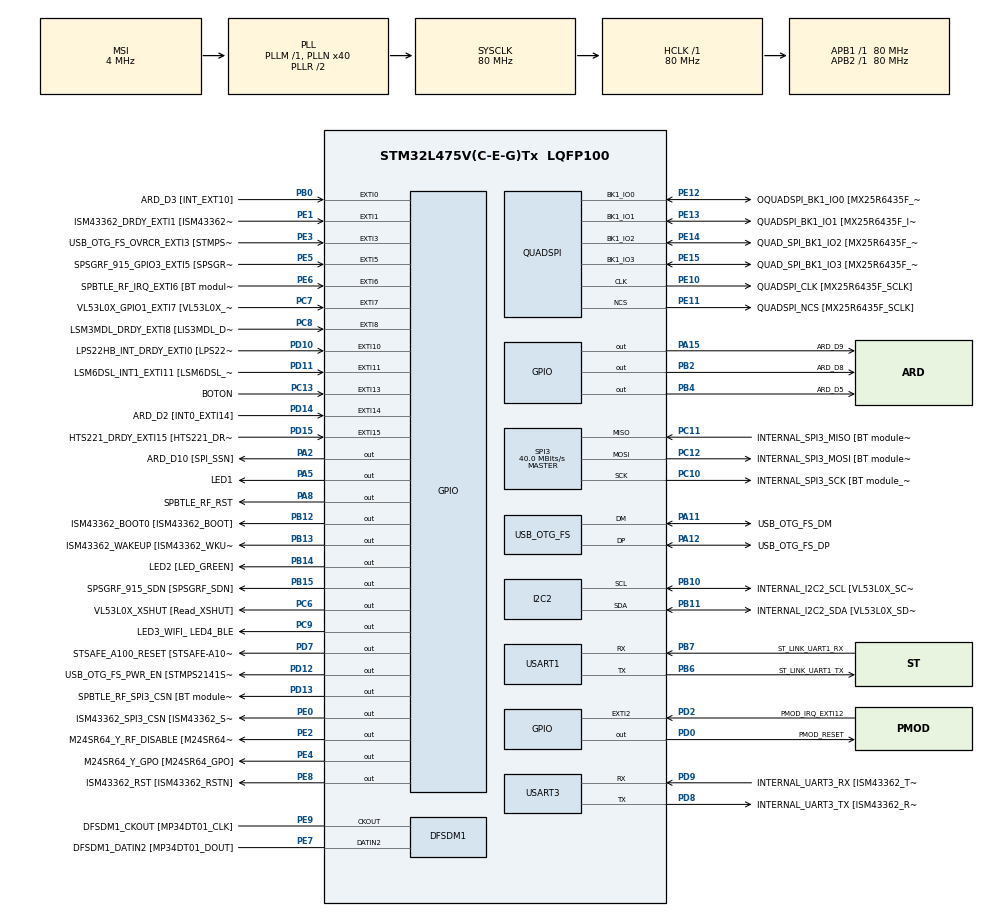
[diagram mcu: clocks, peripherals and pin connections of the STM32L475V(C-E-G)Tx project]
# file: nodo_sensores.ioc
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FREERTOS.Queues01=print_queue,8,uintptr_t,0,Dynamic,NULL,NULL;Send_HyT,3,uintptr_t,0,Dynamic,NULL,NULL;receive_queue,3,char,0,Dynamic,NULL,NULL;Send_Temp,2,int,0,Dynamic,NULL,NULL
FREERTOS.Tasks01=hum_TempTask,24,256,hum_TempTask_func,Default,NULL,Dynamic,NULL,NULL;printTask,24,128,printTask_func,Default,NULL,Dynamic,NULL,NULL;clientMQTT,24,1024,clientMQTT_func,Default,NULL,Dynamic,NULL,NULL;conf_inicial,32,512,conf_inicial_func,Default,NULL,Dynamic,NULL,NULL
FREERTOS.configGENERATE_RUN_TIME_STATS=1
FREERTOS.configTOTAL_HEAP_SIZE=9000
FREERTOS.configUSE_NEWLIB_REENTRANT=1
FREERTOS.configUSE_STATS_FORMATTING_FUNCTIONS=1
Mcu.Family=STM32L4
Mcu.Name=STM32L475V(C-E-G)Tx
Mcu.Package=LQFP100
NVIC.EXTI15_10_IRQn=true\:5\:0\:false\:false\:true\:true\:true\:true\:true
NVIC.EXTI1_IRQn=true\:5\:0\:false\:false\:true\:false\:true\:true\:true
NVIC.EXTI9_5_IRQn=true\:5\:0\:false\:false\:true\:true\:true\:true\:true
NVIC.PriorityGroup=NVIC_PRIORITYGROUP_4
NVIC.SPI3_IRQn=true\:5\:0\:true\:true\:false\:1\:false\:true\:true\:true
NVIC.TIM6_DAC_IRQn=true\:15\:0\:false\:false\:true\:false\:false\:true\:true
NVIC.TIM7_IRQn=true\:5\:0\:false\:false\:true\:true\:true\:true\:true
NVIC.TimeBase=TIM6_DAC_IRQn
NVIC.TimeBaseIP=TIM6
NVIC.USART1_IRQn=true\:5\:0\:false\:false\:true\:true\:true\:true\:true
NVIC.USART3_IRQn=true\:5\:0\:false\:false\:true\:true\:true\:true\:true
PA0.GPIO_Label=ARD_D1 [UART4_TX]
PA0.Signal=UART4_TX
PA1.GPIO_Label=ARD_D0 [UART4_RX]
PA1.Signal=UART4_RX
PA10.GPIO_Label=USB_OTG_FS_ID
PA10.Signal=USB_OTG_FS_ID
PA11.GPIO_Label=USB_OTG_FS_DM
PA11.Mode=Device_Only
PA11.Signal=USB_OTG_FS_DM
PA12.GPIO_Label=USB_OTG_FS_DP
PA12.Mode=Device_Only
PA12.Signal=USB_OTG_FS_DP
PA13\ (JTMS-SWDIO).GPIO_Label=SYS_JTMS_SWDIO
PA13\ (JTMS-SWDIO).Mode=Trace_Asynchronous_SW
PA13\ (JTMS-SWDIO).Signal=SYS_JTMS-SWDIO
PA14\ (JTCK-SWCLK).GPIO_Label=SYS_JTCK_SWCLK
PA14\ (JTCK-SWCLK).Mode=Trace_Asynchronous_SW
PA14\ (JTCK-SWCLK).Signal=SYS_JTCK-SWCLK
PA15\ (JTDI).GPIO_Label=ARD_D9
PA15\ (JTDI).Signal=GPIO_Output
PA2.GPIO_Label=ARD_D10 [SPI_SSN]
PA2.Signal=GPIO_Output
PA3.GPIO_Label=ARD_D4
PA3.Signal=S_TIM2_CH4
PA4.GPIO_Label=ARD_D7
PA4.Signal=ADCx_IN9
PA5.GPIO_Label=LED1
PA5.Signal=GPIO_Output
PA6.GPIO_Label=ARD_D12 [SPI1_MISO]
PA6.Signal=SPI1_MISO
PA7.GPIO_Label=ARD_D11 [SPI1_MOSI]
PA7.Signal=SPI1_MOSI
PA8.GPIO_Label=SPBTLE_RF_RST
PA8.Signal=GPIO_Output
PA9.GPIO_Label=USB_OTG_FS_VBUS [STMPS2141STR_OUT]
PA9.Signal=USB_OTG_FS_VBUS
PB0.GPIO_Label=ARD_D3 [INT_EXT10]
PB0.Signal=GPXTI0
PB1.GPIO_Label=ARD_D6 [ADC1_IN6]
PB1.Signal=ADCx_IN16
PB10.GPIO_Label=INTERNAL_I2C2_SCL [VL53L0X_SCL]
PB10.GPIO_Pu=GPIO_PULLUP
PB10.Mode=I2C
PB10.Signal=I2C2_SCL
PB11.GPIO_Label=INTERNAL_I2C2_SDA [VL53L0X_SDA]
PB11.GPIO_Pu=GPIO_PULLUP
PB11.Mode=I2C
PB11.Signal=I2C2_SDA
PB12.GPIO_Label=ISM43362_BOOT0 [ISM43362_BOOT]
PB12.Signal=GPIO_Output
PB13.GPIO_Label=ISM43362_WAKEUP [ISM43362_WKUP]
PB13.Signal=GPIO_Output
PB14.GPIO_Label=LED2 [LED_GREEN]
PB14.Signal=GPIO_Output
PB15.GPIO_Label=SPSGRF_915_SDN [SPSGRF_SDN]
PB15.Signal=GPIO_Output
PB2.GPIO_Label=ARD_D8
PB2.Signal=GPIO_Output
PB3\ (JTDO-TRACESWO).GPIO_Label=SYS_JTD0_SWO
PB3\ (JTDO-TRACESWO).Mode=Trace_Asynchronous_SW
PB3\ (JTDO-TRACESWO).Signal=SYS_JTDO-SWO
PB4\ (NJTRST).GPIO_Label=ARD_D5
PB4\ (NJTRST).Signal=GPIO_Output
PB6.GPIO_Label=ST_LINK_UART1_TX
PB6.Mode=Asynchronous
PB6.Signal=USART1_TX
PB7.GPIO_Label=ST_LINK_UART1_RX
PB7.Mode=Asynchronous
PB7.Signal=USART1_RX
PB8.GPIO_Label=ARD_D15 [I2C1_SCL]
PB8.Signal=I2C1_SCL
PB9.GPIO_Label=ARD_D14 [I2C1_SDA]
PB9.Signal=I2C1_SDA
PC0.GPIO_Label=ARD_A5 [ADC]
PC0.Signal=ADCx_IN1
PC1.GPIO_Label=ARD_A4 [ADC]
PC1.Signal=ADCx_IN2
PC10.GPIO_Label=INTERNAL_SPI3_SCK [BT module_SPI_SCLK] [ISM43362_SCK]
PC10.Mode=Full_Duplex_Master
PC10.Signal=SPI3_SCK
PC11.GPIO_Label=INTERNAL_SPI3_MISO [BT module_SPI_MISO] [ISM43362_MISO]
PC11.Mode=Full_Duplex_Master
PC11.Signal=SPI3_MISO
PC12.GPIO_Label=INTERNAL_SPI3_MOSI [BT module_SPI_MOSI] [ISM43362_MOSI]
PC12.Mode=Full_Duplex_Master
PC12.Signal=SPI3_MOSI
PC13.GPIO_Label=BOTON
PC13.Signal=GPXTI13
PC14-OSC32_IN\ (PC14).Mode=LSE-External-Oscillator
PC14-OSC32_IN\ (PC14).Signal=RCC_OSC32_IN
PC15-OSC32_OUT\ (PC15).Mode=LSE-External-Oscillator
PC15-OSC32_OUT\ (PC15).Signal=RCC_OSC32_OUT
PC2.GPIO_Label=ARD_A3 [ADC]
PC2.Signal=ADCx_IN3
PC3.GPIO_Label=ARD_A2 [ADC]
PC3.Signal=ADCx_IN4
PC4.GPIO_Label=ARD_A1 [ADC]
PC4.Signal=ADCx_IN13
PC5.GPIO_Label=ARD_A0 [ADC]
PC5.Signal=ADCx_IN14
PC6.GPIO_Label=VL53L0X_XSHUT [Read_XSHUT]
PC6.Signal=GPIO_Output
PC7.GPIO_Label=VL53L0X_GPIO1_EXTI7 [VL53L0X_GPIO1]
PC7.Signal=GPXTI7
PC8.GPIO_Label=LSM3MDL_DRDY_EXTI8 [LIS3MDL_DRDY]
PC8.Signal=GPXTI8
PC9.GPIO_Label=LED3_WIFI_ LED4_BLE
PC9.Signal=GPIO_Output
PD0.GPIO_Label=PMOD_RESET
PD0.Signal=GPIO_Output
PD1.GPIO_Label=PMOD_SPI2_SCK
PD1.Signal=SPI2_SCK
PD10.GPIO_Label=LPS22HB_INT_DRDY_EXTI0 [LPS22HB_INT_DRDY] 
PD10.Signal=GPXTI10
PD11.GPIO_Label=LSM6DSL_INT1_EXTI11 [LSM6DSL_INT1]
PD11.Signal=GPXTI11
PD12.GPIO_Label=USB_OTG_FS_PWR_EN [STMPS2141STR_EN]
PD12.Signal=GPIO_Output
PD13.GPIO_Label=SPBTLE_RF_SPI3_CSN [BT module_SPI_CS]
PD13.PinState=GPIO_PIN_SET
PD13.Signal=GPIO_Output
PD14.GPIO_Label=ARD_D2 [INT0_EXTI14]
PD14.Signal=GPXTI14
PD15.GPIO_Label=HTS221_DRDY_EXTI15 [HTS221_DRDY]
PD15.Signal=GPXTI15
PD2.GPIO_Label=PMOD_IRQ_EXTI12
PD2.Signal=GPXTI2
PD3.GPIO_Label=PMOD_UART2_CTS
PD3.Signal=USART2_CTS
PD4.GPIO_Label=PMOD_UART2_RTS
PD4.Signal=USART2_RTS
PD5.GPIO_Label=PMOD_UART2_TX
PD5.Signal=USART2_TX
PD6.GPIO_Label=PMOD_UART2_RX
PD6.Signal=USART2_RX
PD7.GPIO_Label=STSAFE_A100_RESET [STSAFE-A100_RESET]
PD7.Signal=GPIO_Output
PD8.GPIO_Label=INTERNAL_UART3_TX [ISM43362_RX]
PD8.Mode=Asynchronous
PD8.Signal=USART3_TX
PD9.GPIO_Label=INTERNAL_UART3_RX [ISM43362_TX]
PD9.Mode=Asynchronous
PD9.Signal=USART3_RX
PE0.GPIO_Label=ISM43362_SPI3_CSN [ISM43362_SSN]
PE0.PinState=GPIO_PIN_SET
PE0.Signal=GPIO_Output
PE1.GPIO_Label=ISM43362_DRDY_EXTI1 [ISM43362_DATARDY]
PE1.Signal=GPXTI1
PE10.GPIO_Label=QUADSPI_CLK [MX25R6435F_SCLK]
PE10.Mode=Single Bank
PE10.Signal=QUADSPI_CLK
PE11.GPIO_Label=QUADSPI_NCS [MX25R6435F_SCLK]
PE11.Mode=Single Bank
PE11.Signal=QUADSPI_NCS
PE12.GPIO_Label=OQUADSPI_BK1_IO0 [MX25R6435F_IO0]
PE12.Mode=Single Bank
PE12.Signal=QUADSPI_BK1_IO0
PE13.GPIO_Label=QUADSPI_BK1_IO1 [MX25R6435F_IO1]
PE13.Mode=Single Bank
PE13.Signal=QUADSPI_BK1_IO1
PE14.GPIO_Label=QUAD_SPI_BK1_IO2 [MX25R6435F_IO2]
PE14.Mode=Single Bank
PE14.Signal=QUADSPI_BK1_IO2
PE15.GPIO_Label=QUAD_SPI_BK1_IO3 [MX25R6435F_IO3]
PE15.Mode=Single Bank
PE15.Signal=QUADSPI_BK1_IO3
PE2.GPIO_Label=M24SR64_Y_RF_DISABLE [M24SR64_RFDIS]
PE2.Signal=GPIO_Output
PE3.GPIO_Label=USB_OTG_FS_OVRCR_EXTI3 [STMPS2141STR_FAULT]
PE3.Signal=GPXTI3
PE4.GPIO_Label=M24SR64_Y_GPO [M24SR64_GPO]
PE4.Signal=GPIO_Output
PE5.GPIO_Label=SPSGRF_915_GPIO3_EXTI5 [SPSGRF_GPIO_3]
PE5.Signal=GPXTI5
PE6.GPIO_Label=SPBTLE_RF_IRQ_EXTI6 [BT module_SPI_IRQ]
PE6.Signal=GPXTI6
PE7.GPIO_Label=DFSDM1_DATIN2 [MP34DT01_DOUT]
PE7.Signal=S_DATAIN2DFSDM1
PE8.GPIO_Label=ISM43362_RST [ISM43362_RSTN]
PE8.Signal=GPIO_Output
PE9.GPIO_Label=DFSDM1_CKOUT [MP34DT01_CLK]
PE9.Signal=S_CKOUTDFSDM1
ProjectManager.HeapSize=0x200
ProjectManager.StackSize=0x400
ProjectManager.TargetToolchain=STM32CubeIDE
QUADSPI.ClockPrescaler=2
QUADSPI.FifoThreshold=4
QUADSPI.FlashSize=23
QUADSPI.SampleShifting=QSPI_SAMPLE_SHIFTING_HALFCYCLE
RCC.ADCFreq_Value=48000000
RCC.AHBFreq_Value=80000000
RCC.APB1Freq_Value=80000000
RCC.APB1TimFreq_Value=80000000
RCC.APB2Freq_Value=80000000
RCC.APB2TimFreq_Value=80000000
RCC.CortexFreq_Value=80000000
RCC.HCLKFreq_Value=80000000
RCC.HSE_VALUE=8000000
RCC.HSI_VALUE=16000000
RCC.MSI_VALUE=4000000
RCC.PLLN=40
RCC.PLLSAI1N=24
RCC.SYSCLKFreq_VALUE=80000000
RCC.SYSCLKSource=RCC_SYSCLKSOURCE_PLLCLK
RCC.USBFreq_Value=48000000
RCC.VCOOutputFreq_Value=160000000
RTC.Format=RTC_FORMAT_BIN
RTC.Hours=13
RTC.Minutes=1
SH.ADCx_IN1.0=ADC1_IN1
SH.ADCx_IN13.0=ADC1_IN13
SH.ADCx_IN14.0=ADC1_IN14
SH.ADCx_IN16.0=ADC1_IN16
SH.ADCx_IN2.0=ADC1_IN2
SH.ADCx_IN3.0=ADC1_IN3
SH.ADCx_IN4.0=ADC1_IN4
SH.ADCx_IN9.0=ADC1_IN9
SH.S_CKOUTDFSDM1.0=DFSDM1_CKOUT,CKOUT
SH.S_CKOUTDFSDM1.1=DFSDM1_CKOUT,PDM_SPI_Input_from_ch12_and_Internal_Clock
SH.S_DATAIN2DFSDM1.0=DFSDM1_DATIN2,PDM_SPI_Input_from_ch12_and_Internal_Clock
SH.S_TIM2_CH4.0=TIM2_CH4
SPI3.CalculateBaudRate=40.0 MBits/s
SPI3.Direction=SPI_DIRECTION_2LINES
SPI3.Mode=SPI_MODE_MASTER
SPI3.VirtualType=VM_MASTER
TIM7.Period=799
USART1.VirtualMode-Asynchronous=VM_ASYNC
USART3.VirtualMode-Asynchronous=VM_ASYNC
USB_OTG_FS.VirtualMode=Device_Only
VP_FREERTOS_VS_CMSIS_V2.Mode=CMSIS_V2
VP_RTC_VS_RTC_Activate.Mode=RTC_Enabled
VP_RTC_VS_RTC_Calendar.Mode=RTC_Calendar
VP_SYS_VS_tim6.Mode=TIM6
VP_TIM7_VS_ClockSourceINT.Mode=Enable_Timer
board=B-L475E-IOT01A2

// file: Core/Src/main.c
/* USER CODE BEGIN Header */
/**
  ******************************************************************************
  * @file           : main.c
  * @brief          : Main program body
  ******************************************************************************
  * @attention
  *
  * Copyright (c) 2022 STMicroelectronics.
  * All rights reserved.
  *
  * This software is licensed under terms that can be found in the LICENSE file
  * in the root directory of this software component.
  * If no LICENSE file comes with this software, it is provided AS-IS.
  *
  ******************************************************************************
  */
/* USER CODE END Header */
#include "main.h"
#include "cmsis_os.h"

/* USER CODE BEGIN Includes */
#include "es_wifi.h"
#include "wifi.h"
#include <stdio.h>
#include "stm32l475e_iot01.h"
#include "stm32l475e_iot01_hsensor.h"
#include "stm32l475e_iot01_tsensor.h"
#include <math.h>
#include <string.h>
#include "core_mqtt.h"
#include "mqtt_priv.h"
#include "timers.h"
/* USER CODE END Includes */

/* USER CODE BEGIN PM */

#define MAX_LEN_SSID 10
#define MAX_LEN_PSSWRD 20
//#define WIFISECURITY WIFI_ECN_OPEN
#define WIFISECURITY WIFI_ECN_WPA2_PSK
#define SOCKET 0
#define WIFI_READ_TIMEOUT 10000
#define WIFI_WRITE_TIMEOUT 0
/* USER CODE END PM */

DFSDM_Channel_HandleTypeDef hdfsdm1_channel1;

I2C_HandleTypeDef hi2c2;

QSPI_HandleTypeDef hqspi;

RTC_HandleTypeDef hrtc;

SPI_HandleTypeDef hspi3;

TIM_HandleTypeDef htim7;

UART_HandleTypeDef huart1;
UART_HandleTypeDef huart3;

PCD_HandleTypeDef hpcd_USB_OTG_FS;

/* Definitions for hum_TempTask */
osThreadId_t hum_TempTaskHandle;
const osThreadAttr_t hum_TempTask_attributes = {
  .name = "hum_TempTask",
  .stack_size = 256 * 4,
  .priority = (osPriority_t) osPriorityNormal,
};
/* Definitions for printTask */
osThreadId_t printTaskHandle;
const osThreadAttr_t printTask_attributes = {
  .name = "printTask",
  .stack_size = 128 * 4,
  .priority = (osPriority_t) osPriorityNormal,
};
/* Definitions for clientMQTT */
osThreadId_t clientMQTTHandle;
const osThreadAttr_t clientMQTT_attributes = {
  .name = "clientMQTT",
  .stack_size = 1024 * 4,
  .priority = (osPriority_t) osPriorityNormal,
};
/* Definitions for conf_inicial */
osThreadId_t conf_inicialHandle;
const osThreadAttr_t conf_inicial_attributes = {
  .name = "conf_inicial",
  .stack_size = 512 * 4,
  .priority = (osPriority_t) osPriorityAboveNormal,
};
/* Definitions for print_queue */
osMessageQueueId_t print_queueHandle;
const osMessageQueueAttr_t print_queue_attributes = {
  .name = "print_queue"
};
/* Definitions for Send_HyT */
osMessageQueueId_t Send_HyTHandle;
const osMessageQueueAttr_t Send_HyT_attributes = {
  .name = "Send_HyT"
};
/* Definitions for receive_queue */
osMessageQueueId_t receive_queueHandle;
const osMessageQueueAttr_t receive_queue_attributes = {
  .name = "receive_queue"
};
/* Definitions for Send_Temp */
osMessageQueueId_t Send_TempHandle;
const osMessageQueueAttr_t Send_Temp_attributes = {
  .name = "Send_Temp"
};
/* USER CODE BEGIN PV */
char rec_data;
uint8_t cont=1;
uint8_t TEMPERATURA_UMBRAL=12;
RTC_DateTypeDef GetDate; //Estructura para fijar/leer fecha
RTC_TimeTypeDef GetTime; //Estructura para fijar/leer hora

extern  SPI_HandleTypeDef hspi;
static  uint8_t  IP_Addr[4];

static int humidity_value = 0;
static float temperature_value = 0;
/* USER CODE END PV */

void SystemClock_Config(void);
static void MX_GPIO_Init(void);
static void MX_DFSDM1_Init(void);
static void MX_I2C2_Init(void);
static void MX_QUADSPI_Init(void);
static void MX_SPI3_Init(void);
static void MX_USART1_UART_Init(void);
static void MX_USART3_UART_Init(void);
static void MX_USB_OTG_FS_PCD_Init(void);
static void MX_TIM7_Init(void);
static void MX_RTC_Init(void);
void hum_TempTask_func(void *argument);
void printTask_func(void *argument);
void clientMQTT_func(void *argument);
void conf_inicial_func(void *argument);

static void MX_NVIC_Init(void);
/* USER CODE BEGIN PFP */
volatile unsigned long ulHighFrequencyTimerTicks;
void configureTimerForRunTimeStats(void) {
	ulHighFrequencyTimerTicks = 0;
	HAL_TIM_Base_Start_IT(&htim7);
}
unsigned long getRunTimeCounterValue(void) {
	return ulHighFrequencyTimerTicks;
}
/* USER CODE END PFP */

int main(void)
{

  /* MCU Configuration--------------------------------------------------------*/

  /* Reset of all peripherals, Initializes the Flash interface and the Systick. */
  HAL_Init();

  /* Configure the system clock */
  SystemClock_Config();

  /* Initialize all configured peripherals */
  MX_GPIO_Init();
  MX_DFSDM1_Init();
  MX_I2C2_Init();
  MX_QUADSPI_Init();
  MX_SPI3_Init();
  MX_USART1_UART_Init();
  MX_USART3_UART_Init();
  MX_USB_OTG_FS_PCD_Init();
  MX_TIM7_Init();
  MX_RTC_Init();

  /* Initialize interrupts */
  MX_NVIC_Init();

  /* Init scheduler */
  osKernelInitialize();

  /* Create the queue(s) */
  /* creation of print_queue */
  print_queueHandle = osMessageQueueNew (8, sizeof(uintptr_t), &print_queue_attributes);

  /* creation of Send_HyT */
  Send_HyTHandle = osMessageQueueNew (3, sizeof(uintptr_t), &Send_HyT_attributes);

  /* creation of receive_queue */
  receive_queueHandle = osMessageQueueNew (3, sizeof(char), &receive_queue_attributes);

  /* creation of Send_Temp */
  Send_TempHandle = osMessageQueueNew (2, sizeof(int), &Send_Temp_attributes);

  /* Create the thread(s) */
  /* creation of hum_TempTask */
  hum_TempTaskHandle = osThreadNew(hum_TempTask_func, NULL, &hum_TempTask_attributes);

  /* creation of printTask */
  printTaskHandle = osThreadNew(printTask_func, NULL, &printTask_attributes);

  /* creation of clientMQTT */
  clientMQTTHandle = osThreadNew(clientMQTT_func, NULL, &clientMQTT_attributes);

  /* creation of conf_inicial */
  conf_inicialHandle = osThreadNew(conf_inicial_func, NULL, &conf_inicial_attributes);

  /* USER CODE BEGIN RTOS_THREADS */
  /* add threads, ... */
  HAL_UART_Receive_IT(&huart1,&rec_data,1);
  /* USER CODE END RTOS_THREADS */

  /* Start scheduler */
  osKernelStart();

  /* We should never get here as control is now taken by the scheduler */
  /* Infinite loop */
  while (1)
  {

  }
}

void SystemClock_Config(void)
{
  RCC_OscInitTypeDef RCC_OscInitStruct = {0};
  RCC_ClkInitTypeDef RCC_ClkInitStruct = {0};

  /** Configure the main internal regulator output voltage
  */
  if (HAL_PWREx_ControlVoltageScaling(PWR_REGULATOR_VOLTAGE_SCALE1) != HAL_OK)
  {
    Error_Handler();
  }

  /** Configure LSE Drive Capability
  */
  HAL_PWR_EnableBkUpAccess();
  __HAL_RCC_LSEDRIVE_CONFIG(RCC_LSEDRIVE_LOW);

  /** Initializes the RCC Oscillators according to the specified parameters
  * in the RCC_OscInitTypeDef structure.
  */
  RCC_OscInitStruct.OscillatorType = RCC_OSCILLATORTYPE_LSI|RCC_OSCILLATORTYPE_LSE
                              |RCC_OSCILLATORTYPE_MSI;
  RCC_OscInitStruct.LSEState = RCC_LSE_ON;
  RCC_OscInitStruct.LSIState = RCC_LSI_ON;
  RCC_OscInitStruct.MSIState = RCC_MSI_ON;
  RCC_OscInitStruct.MSICalibrationValue = 0;
  RCC_OscInitStruct.MSIClockRange = RCC_MSIRANGE_6;
  RCC_OscInitStruct.PLL.PLLState = RCC_PLL_ON;
  RCC_OscInitStruct.PLL.PLLSource = RCC_PLLSOURCE_MSI;
  RCC_OscInitStruct.PLL.PLLM = 1;
  RCC_OscInitStruct.PLL.PLLN = 40;
  RCC_OscInitStruct.PLL.PLLP = RCC_PLLP_DIV7;
  RCC_OscInitStruct.PLL.PLLQ = RCC_PLLQ_DIV2;
  RCC_OscInitStruct.PLL.PLLR = RCC_PLLR_DIV2;
  if (HAL_RCC_OscConfig(&RCC_OscInitStruct) != HAL_OK)
  {
    Error_Handler();
  }

  /** Initializes the CPU, AHB and APB buses clocks
  */
  RCC_ClkInitStruct.ClockType = RCC_CLOCKTYPE_HCLK|RCC_CLOCKTYPE_SYSCLK
                              |RCC_CLOCKTYPE_PCLK1|RCC_CLOCKTYPE_PCLK2;
  RCC_ClkInitStruct.SYSCLKSource = RCC_SYSCLKSOURCE_PLLCLK;
  RCC_ClkInitStruct.AHBCLKDivider = RCC_SYSCLK_DIV1;
  RCC_ClkInitStruct.APB1CLKDivider = RCC_HCLK_DIV1;
  RCC_ClkInitStruct.APB2CLKDivider = RCC_HCLK_DIV1;

  if (HAL_RCC_ClockConfig(&RCC_ClkInitStruct, FLASH_LATENCY_4) != HAL_OK)
  {
    Error_Handler();
  }

  /** Enable MSI Auto calibration
  */
  HAL_RCCEx_EnableMSIPLLMode();
}

/**
  * @brief NVIC Configuration.
  * @retval None
  */
static void MX_NVIC_Init(void)
{
  /* SPI3_IRQn interrupt configuration */
  HAL_NVIC_SetPriority(SPI3_IRQn, 5, 0);
  HAL_NVIC_EnableIRQ(SPI3_IRQn);
}

static void MX_DFSDM1_Init(void)
{

  hdfsdm1_channel1.Instance = DFSDM1_Channel1;
  hdfsdm1_channel1.Init.OutputClock.Activation = ENABLE;
  hdfsdm1_channel1.Init.OutputClock.Selection = DFSDM_CHANNEL_OUTPUT_CLOCK_SYSTEM;
  hdfsdm1_channel1.Init.OutputClock.Divider = 2;
  hdfsdm1_channel1.Init.Input.Multiplexer = DFSDM_CHANNEL_EXTERNAL_INPUTS;
  hdfsdm1_channel1.Init.Input.DataPacking = DFSDM_CHANNEL_STANDARD_MODE;
  hdfsdm1_channel1.Init.Input.Pins = DFSDM_CHANNEL_FOLLOWING_CHANNEL_PINS;
  hdfsdm1_channel1.Init.SerialInterface.Type = DFSDM_CHANNEL_SPI_RISING;
  hdfsdm1_channel1.Init.SerialInterface.SpiClock = DFSDM_CHANNEL_SPI_CLOCK_INTERNAL;
  hdfsdm1_channel1.Init.Awd.FilterOrder = DFSDM_CHANNEL_FASTSINC_ORDER;
  hdfsdm1_channel1.Init.Awd.Oversampling = 1;
  hdfsdm1_channel1.Init.Offset = 0;
  hdfsdm1_channel1.Init.RightBitShift = 0x00;
  if (HAL_DFSDM_ChannelInit(&hdfsdm1_channel1) != HAL_OK)
  {
    Error_Handler();
  }

}

static void MX_I2C2_Init(void)
{

  hi2c2.Instance = I2C2;
  hi2c2.Init.Timing = 0x00000E14;
  hi2c2.Init.OwnAddress1 = 0;
  hi2c2.Init.AddressingMode = I2C_ADDRESSINGMODE_7BIT;
  hi2c2.Init.DualAddressMode = I2C_DUALADDRESS_DISABLE;
  hi2c2.Init.OwnAddress2 = 0;
  hi2c2.Init.OwnAddress2Masks = I2C_OA2_NOMASK;
  hi2c2.Init.GeneralCallMode = I2C_GENERALCALL_DISABLE;
  hi2c2.Init.NoStretchMode = I2C_NOSTRETCH_DISABLE;
  if (HAL_I2C_Init(&hi2c2) != HAL_OK)
  {
    Error_Handler();
  }

  /** Configure Analogue filter
  */
  if (HAL_I2CEx_ConfigAnalogFilter(&hi2c2, I2C_ANALOGFILTER_ENABLE) != HAL_OK)
  {
    Error_Handler();
  }

  /** Configure Digital filter
  */
  if (HAL_I2CEx_ConfigDigitalFilter(&hi2c2, 0) != HAL_OK)
  {
    Error_Handler();
  }

}

static void MX_QUADSPI_Init(void)
{

  /* QUADSPI parameter configuration*/
  hqspi.Instance = QUADSPI;
  hqspi.Init.ClockPrescaler = 2;
  hqspi.Init.FifoThreshold = 4;
  hqspi.Init.SampleShifting = QSPI_SAMPLE_SHIFTING_HALFCYCLE;
  hqspi.Init.FlashSize = 23;
  hqspi.Init.ChipSelectHighTime = QSPI_CS_HIGH_TIME_1_CYCLE;
  hqspi.Init.ClockMode = QSPI_CLOCK_MODE_0;
  if (HAL_QSPI_Init(&hqspi) != HAL_OK)
  {
    Error_Handler();
  }

}

static void MX_RTC_Init(void)
{

  RTC_TimeTypeDef sTime = {0};
  RTC_DateTypeDef sDate = {0};

  /** Initialize RTC Only
  */
  hrtc.Instance = RTC;
  hrtc.Init.HourFormat = RTC_HOURFORMAT_24;
  hrtc.Init.AsynchPrediv = 127;
  hrtc.Init.SynchPrediv = 255;
  hrtc.Init.OutPut = RTC_OUTPUT_DISABLE;
  hrtc.Init.OutPutRemap = RTC_OUTPUT_REMAP_NONE;
  hrtc.Init.OutPutPolarity = RTC_OUTPUT_POLARITY_HIGH;
  hrtc.Init.OutPutType = RTC_OUTPUT_TYPE_OPENDRAIN;
  if (HAL_RTC_Init(&hrtc) != HAL_OK)
  {
    Error_Handler();
  }

  /** Initialize RTC and set the Time and Date
  */
  sTime.Hours = 13;
  sTime.Minutes = 1;
  sTime.Seconds = 0;
  sTime.DayLightSaving = RTC_DAYLIGHTSAVING_NONE;
  sTime.StoreOperation = RTC_STOREOPERATION_RESET;
  if (HAL_RTC_SetTime(&hrtc, &sTime, RTC_FORMAT_BIN) != HAL_OK)
  {
    Error_Handler();
  }
  sDate.WeekDay = RTC_WEEKDAY_MONDAY;
  sDate.Month = RTC_MONTH_JANUARY;
  sDate.Date = 1;
  sDate.Year = 0;

  if (HAL_RTC_SetDate(&hrtc, &sDate, RTC_FORMAT_BIN) != HAL_OK)
  {
    Error_Handler();
  }

}

static void MX_SPI3_Init(void)
{

  /* SPI3 parameter configuration*/
  hspi3.Instance = SPI3;
  hspi3.Init.Mode = SPI_MODE_MASTER;
  hspi3.Init.Direction = SPI_DIRECTION_2LINES;
  hspi3.Init.DataSize = SPI_DATASIZE_4BIT;
  hspi3.Init.CLKPolarity = SPI_POLARITY_LOW;
  hspi3.Init.CLKPhase = SPI_PHASE_1EDGE;
  hspi3.Init.NSS = SPI_NSS_SOFT;
  hspi3.Init.BaudRatePrescaler = SPI_BAUDRATEPRESCALER_2;
  hspi3.Init.FirstBit = SPI_FIRSTBIT_MSB;
  hspi3.Init.TIMode = SPI_TIMODE_DISABLE;
  hspi3.Init.CRCCalculation = SPI_CRCCALCULATION_DISABLE;
  hspi3.Init.CRCPolynomial = 7;
  hspi3.Init.CRCLength = SPI_CRC_LENGTH_DATASIZE;
  hspi3.Init.NSSPMode = SPI_NSS_PULSE_ENABLE;
  if (HAL_SPI_Init(&hspi3) != HAL_OK)
  {
    Error_Handler();
  }

}

static void MX_TIM7_Init(void)
{

  TIM_MasterConfigTypeDef sMasterConfig = {0};

  htim7.Instance = TIM7;
  htim7.Init.Prescaler = 0;
  htim7.Init.CounterMode = TIM_COUNTERMODE_UP;
  htim7.Init.Period = 799;
  htim7.Init.AutoReloadPreload = TIM_AUTORELOAD_PRELOAD_DISABLE;
  if (HAL_TIM_Base_Init(&htim7) != HAL_OK)
  {
    Error_Handler();
  }
  sMasterConfig.MasterOutputTrigger = TIM_TRGO_RESET;
  sMasterConfig.MasterSlaveMode = TIM_MASTERSLAVEMODE_DISABLE;
  if (HAL_TIMEx_MasterConfigSynchronization(&htim7, &sMasterConfig) != HAL_OK)
  {
    Error_Handler();
  }

}

static void MX_USART1_UART_Init(void)
{

  huart1.Instance = USART1;
  huart1.Init.BaudRate = 115200;
  huart1.Init.WordLength = UART_WORDLENGTH_8B;
  huart1.Init.StopBits = UART_STOPBITS_1;
  huart1.Init.Parity = UART_PARITY_NONE;
  huart1.Init.Mode = UART_MODE_TX_RX;
  huart1.Init.HwFlowCtl = UART_HWCONTROL_NONE;
  huart1.Init.OverSampling = UART_OVERSAMPLING_16;
  huart1.Init.OneBitSampling = UART_ONE_BIT_SAMPLE_DISABLE;
  huart1.AdvancedInit.AdvFeatureInit = UART_ADVFEATURE_NO_INIT;
  if (HAL_UART_Init(&huart1) != HAL_OK)
  {
    Error_Handler();
  }

}

static void MX_USART3_UART_Init(void)
{

  huart3.Instance = USART3;
  huart3.Init.BaudRate = 115200;
  huart3.Init.WordLength = UART_WORDLENGTH_8B;
  huart3.Init.StopBits = UART_STOPBITS_1;
  huart3.Init.Parity = UART_PARITY_NONE;
  huart3.Init.Mode = UART_MODE_TX_RX;
  huart3.Init.HwFlowCtl = UART_HWCONTROL_NONE;
  huart3.Init.OverSampling = UART_OVERSAMPLING_16;
  huart3.Init.OneBitSampling = UART_ONE_BIT_SAMPLE_DISABLE;
  huart3.AdvancedInit.AdvFeatureInit = UART_ADVFEATURE_NO_INIT;
  if (HAL_UART_Init(&huart3) != HAL_OK)
  {
    Error_Handler();
  }

}

static void MX_USB_OTG_FS_PCD_Init(void)
{

  hpcd_USB_OTG_FS.Instance = USB_OTG_FS;
  hpcd_USB_OTG_FS.Init.dev_endpoints = 6;
  hpcd_USB_OTG_FS.Init.speed = PCD_SPEED_FULL;
  hpcd_USB_OTG_FS.Init.phy_itface = PCD_PHY_EMBEDDED;
  hpcd_USB_OTG_FS.Init.Sof_enable = DISABLE;
  hpcd_USB_OTG_FS.Init.low_power_enable = DISABLE;
  hpcd_USB_OTG_FS.Init.lpm_enable = DISABLE;
  hpcd_USB_OTG_FS.Init.battery_charging_enable = DISABLE;
  hpcd_USB_OTG_FS.Init.use_dedicated_ep1 = DISABLE;
  hpcd_USB_OTG_FS.Init.vbus_sensing_enable = DISABLE;
  if (HAL_PCD_Init(&hpcd_USB_OTG_FS) != HAL_OK)
  {
    Error_Handler();
  }

}

static void MX_GPIO_Init(void)
{
  GPIO_InitTypeDef GPIO_InitStruct = {0};

  /* GPIO Ports Clock Enable */
  __HAL_RCC_GPIOE_CLK_ENABLE();
  __HAL_RCC_GPIOC_CLK_ENABLE();
  __HAL_RCC_GPIOA_CLK_ENABLE();
  __HAL_RCC_GPIOB_CLK_ENABLE();
  __HAL_RCC_GPIOD_CLK_ENABLE();

  /*Configure GPIO pin Output Level */
  HAL_GPIO_WritePin(GPIOE, M24SR64_Y_RF_DISABLE_Pin|M24SR64_Y_GPO_Pin|ISM43362_RST_Pin, GPIO_PIN_RESET);

  /*Configure GPIO pin Output Level */
  HAL_GPIO_WritePin(GPIOA, ARD_D10_Pin|LED1_Pin|SPBTLE_RF_RST_Pin|ARD_D9_Pin, GPIO_PIN_RESET);

  /*Configure GPIO pin Output Level */
  HAL_GPIO_WritePin(GPIOB, ARD_D8_Pin|ISM43362_BOOT0_Pin|ISM43362_WAKEUP_Pin|LED2_Pin
                          |SPSGRF_915_SDN_Pin|ARD_D5_Pin, GPIO_PIN_RESET);

  /*Configure GPIO pin Output Level */
  HAL_GPIO_WritePin(GPIOD, USB_OTG_FS_PWR_EN_Pin|PMOD_RESET_Pin|STSAFE_A100_RESET_Pin, GPIO_PIN_RESET);

  /*Configure GPIO pin Output Level */
  HAL_GPIO_WritePin(SPBTLE_RF_SPI3_CSN_GPIO_Port, SPBTLE_RF_SPI3_CSN_Pin, GPIO_PIN_SET);

  /*Configure GPIO pin Output Level */
  HAL_GPIO_WritePin(GPIOC, VL53L0X_XSHUT_Pin|LED3_WIFI__LED4_BLE_Pin, GPIO_PIN_RESET);

  /*Configure GPIO pin Output Level */
  HAL_GPIO_WritePin(ISM43362_SPI3_CSN_GPIO_Port, ISM43362_SPI3_CSN_Pin, GPIO_PIN_SET);

  /*Configure GPIO pins : M24SR64_Y_RF_DISABLE_Pin M24SR64_Y_GPO_Pin ISM43362_RST_Pin ISM43362_SPI3_CSN_Pin */
  GPIO_InitStruct.Pin = M24SR64_Y_RF_DISABLE_Pin|M24SR64_Y_GPO_Pin|ISM43362_RST_Pin|ISM43362_SPI3_CSN_Pin;
  GPIO_InitStruct.Mode = GPIO_MODE_OUTPUT_PP;
  GPIO_InitStruct.Pull = GPIO_NOPULL;
  GPIO_InitStruct.Speed = GPIO_SPEED_FREQ_LOW;
  HAL_GPIO_Init(GPIOE, &GPIO_InitStruct);

  /*Configure GPIO pins : USB_OTG_FS_OVRCR_EXTI3_Pin SPSGRF_915_GPIO3_EXTI5_Pin SPBTLE_RF_IRQ_EXTI6_Pin ISM43362_DRDY_EXTI1_Pin */
  GPIO_InitStruct.Pin = USB_OTG_FS_OVRCR_EXTI3_Pin|SPSGRF_915_GPIO3_EXTI5_Pin|SPBTLE_RF_IRQ_EXTI6_Pin|ISM43362_DRDY_EXTI1_Pin;
  GPIO_InitStruct.Mode = GPIO_MODE_IT_RISING;
  GPIO_InitStruct.Pull = GPIO_NOPULL;
  HAL_GPIO_Init(GPIOE, &GPIO_InitStruct);

  /*Configure GPIO pins : BOTON_Pin VL53L0X_GPIO1_EXTI7_Pin LSM3MDL_DRDY_EXTI8_Pin */
  GPIO_InitStruct.Pin = BOTON_Pin|VL53L0X_GPIO1_EXTI7_Pin|LSM3MDL_DRDY_EXTI8_Pin;
  GPIO_InitStruct.Mode = GPIO_MODE_IT_RISING;
  GPIO_InitStruct.Pull = GPIO_NOPULL;
  HAL_GPIO_Init(GPIOC, &GPIO_InitStruct);

  /*Configure GPIO pins : ARD_A5_Pin ARD_A4_Pin ARD_A3_Pin ARD_A2_Pin
                           ARD_A1_Pin ARD_A0_Pin */
  GPIO_InitStruct.Pin = ARD_A5_Pin|ARD_A4_Pin|ARD_A3_Pin|ARD_A2_Pin
                          |ARD_A1_Pin|ARD_A0_Pin;
  GPIO_InitStruct.Mode = GPIO_MODE_ANALOG_ADC_CONTROL;
  GPIO_InitStruct.Pull = GPIO_NOPULL;
  HAL_GPIO_Init(GPIOC, &GPIO_InitStruct);

  /*Configure GPIO pins : ARD_D1_Pin ARD_D0_Pin */
  GPIO_InitStruct.Pin = ARD_D1_Pin|ARD_D0_Pin;
  GPIO_InitStruct.Mode = GPIO_MODE_AF_PP;
  GPIO_InitStruct.Pull = GPIO_NOPULL;
  GPIO_InitStruct.Speed = GPIO_SPEED_FREQ_VERY_HIGH;
  GPIO_InitStruct.Alternate = GPIO_AF8_UART4;
  HAL_GPIO_Init(GPIOA, &GPIO_InitStruct);

  /*Configure GPIO pins : ARD_D10_Pin LED1_Pin SPBTLE_RF_RST_Pin ARD_D9_Pin */
  GPIO_InitStruct.Pin = ARD_D10_Pin|LED1_Pin|SPBTLE_RF_RST_Pin|ARD_D9_Pin;
  GPIO_InitStruct.Mode = GPIO_MODE_OUTPUT_PP;
  GPIO_InitStruct.Pull = GPIO_NOPULL;
  GPIO_InitStruct.Speed = GPIO_SPEED_FREQ_LOW;
  HAL_GPIO_Init(GPIOA, &GPIO_InitStruct);

  /*Configure GPIO pin : ARD_D4_Pin */
  GPIO_InitStruct.Pin = ARD_D4_Pin;
  GPIO_InitStruct.Mode = GPIO_MODE_AF_PP;
  GPIO_InitStruct.Pull = GPIO_NOPULL;
  GPIO_InitStruct.Speed = GPIO_SPEED_FREQ_LOW;
  GPIO_InitStruct.Alternate = GPIO_AF1_TIM2;
  HAL_GPIO_Init(ARD_D4_GPIO_Port, &GPIO_InitStruct);

  /*Configure GPIO pin : ARD_D7_Pin */
  GPIO_InitStruct.Pin = ARD_D7_Pin;
  GPIO_InitStruct.Mode = GPIO_MODE_ANALOG_ADC_CONTROL;
  GPIO_InitStruct.Pull = GPIO_NOPULL;
  HAL_GPIO_Init(ARD_D7_GPIO_Port, &GPIO_InitStruct);

  /*Configure GPIO pins : ARD_D12_Pin ARD_D11_Pin */
  GPIO_InitStruct.Pin = ARD_D12_Pin|ARD_D11_Pin;
  GPIO_InitStruct.Mode = GPIO_MODE_AF_PP;
  GPIO_InitStruct.Pull = GPIO_NOPULL;
  GPIO_InitStruct.Speed = GPIO_SPEED_FREQ_VERY_HIGH;
  GPIO_InitStruct.Alternate = GPIO_AF5_SPI1;
  HAL_GPIO_Init(GPIOA, &GPIO_InitStruct);

  /*Configure GPIO pin : ARD_D3_Pin */
  GPIO_InitStruct.Pin = ARD_D3_Pin;
  GPIO_InitStruct.Mode = GPIO_MODE_IT_RISING;
  GPIO_InitStruct.Pull = GPIO_NOPULL;
  HAL_GPIO_Init(ARD_D3_GPIO_Port, &GPIO_InitStruct);

  /*Configure GPIO pin : ARD_D6_Pin */
  GPIO_InitStruct.Pin = ARD_D6_Pin;
  GPIO_InitStruct.Mode = GPIO_MODE_ANALOG_ADC_CONTROL;
  GPIO_InitStruct.Pull = GPIO_NOPULL;
  HAL_GPIO_Init(ARD_D6_GPIO_Port, &GPIO_InitStruct);

  /*Configure GPIO pins : ARD_D8_Pin ISM43362_BOOT0_Pin ISM43362_WAKEUP_Pin LED2_Pin
                           SPSGRF_915_SDN_Pin ARD_D5_Pin */
  GPIO_InitStruct.Pin = ARD_D8_Pin|ISM43362_BOOT0_Pin|ISM43362_WAKEUP_Pin|LED2_Pin
                          |SPSGRF_915_SDN_Pin|ARD_D5_Pin;
  GPIO_InitStruct.Mode = GPIO_MODE_OUTPUT_PP;
  GPIO_InitStruct.Pull = GPIO_NOPULL;
  GPIO_InitStruct.Speed = GPIO_SPEED_FREQ_LOW;
  HAL_GPIO_Init(GPIOB, &GPIO_InitStruct);

  /*Configure GPIO pins : LPS22HB_INT_DRDY_EXTI0_Pin LSM6DSL_INT1_EXTI11_Pin ARD_D2_Pin HTS221_DRDY_EXTI15_Pin
                           PMOD_IRQ_EXTI12_Pin */
  GPIO_InitStruct.Pin = LPS22HB_INT_DRDY_EXTI0_Pin|LSM6DSL_INT1_EXTI11_Pin|ARD_D2_Pin|HTS221_DRDY_EXTI15_Pin
                          |PMOD_IRQ_EXTI12_Pin;
  GPIO_InitStruct.Mode = GPIO_MODE_IT_RISING;
  GPIO_InitStruct.Pull = GPIO_NOPULL;
  HAL_GPIO_Init(GPIOD, &GPIO_InitStruct);

  /*Configure GPIO pins : USB_OTG_FS_PWR_EN_Pin SPBTLE_RF_SPI3_CSN_Pin PMOD_RESET_Pin STSAFE_A100_RESET_Pin */
  GPIO_InitStruct.Pin = USB_OTG_FS_PWR_EN_Pin|SPBTLE_RF_SPI3_CSN_Pin|PMOD_RESET_Pin|STSAFE_A100_RESET_Pin;
  GPIO_InitStruct.Mode = GPIO_MODE_OUTPUT_PP;
  GPIO_InitStruct.Pull = GPIO_NOPULL;
  GPIO_InitStruct.Speed = GPIO_SPEED_FREQ_LOW;
  HAL_GPIO_Init(GPIOD, &GPIO_InitStruct);

  /*Configure GPIO pins : VL53L0X_XSHUT_Pin LED3_WIFI__LED4_BLE_Pin */
  GPIO_InitStruct.Pin = VL53L0X_XSHUT_Pin|LED3_WIFI__LED4_BLE_Pin;
  GPIO_InitStruct.Mode = GPIO_MODE_OUTPUT_PP;
  GPIO_InitStruct.Pull = GPIO_NOPULL;
  GPIO_InitStruct.Speed = GPIO_SPEED_FREQ_LOW;
  HAL_GPIO_Init(GPIOC, &GPIO_InitStruct);

  /*Configure GPIO pin : PMOD_SPI2_SCK_Pin */
  GPIO_InitStruct.Pin = PMOD_SPI2_SCK_Pin;
  GPIO_InitStruct.Mode = GPIO_MODE_AF_PP;
  GPIO_InitStruct.Pull = GPIO_NOPULL;
  GPIO_InitStruct.Speed = GPIO_SPEED_FREQ_VERY_HIGH;
  GPIO_InitStruct.Alternate = GPIO_AF5_SPI2;
  HAL_GPIO_Init(PMOD_SPI2_SCK_GPIO_Port, &GPIO_InitStruct);

  /*Configure GPIO pins : PMOD_UART2_CTS_Pin PMOD_UART2_RTS_Pin PMOD_UART2_TX_Pin PMOD_UART2_RX_Pin */
  GPIO_InitStruct.Pin = PMOD_UART2_CTS_Pin|PMOD_UART2_RTS_Pin|PMOD_UART2_TX_Pin|PMOD_UART2_RX_Pin;
  GPIO_InitStruct.Mode = GPIO_MODE_AF_PP;
  GPIO_InitStruct.Pull = GPIO_NOPULL;
  GPIO_InitStruct.Speed = GPIO_SPEED_FREQ_VERY_HIGH;
  GPIO_InitStruct.Alternate = GPIO_AF7_USART2;
  HAL_GPIO_Init(GPIOD, &GPIO_InitStruct);

  /*Configure GPIO pins : ARD_D15_Pin ARD_D14_Pin */
  GPIO_InitStruct.Pin = ARD_D15_Pin|ARD_D14_Pin;
  GPIO_InitStruct.Mode = GPIO_MODE_AF_OD;
  GPIO_InitStruct.Pull = GPIO_NOPULL;
  GPIO_InitStruct.Speed = GPIO_SPEED_FREQ_VERY_HIGH;
  GPIO_InitStruct.Alternate = GPIO_AF4_I2C1;
  HAL_GPIO_Init(GPIOB, &GPIO_InitStruct);

  /* EXTI interrupt init*/
  HAL_NVIC_SetPriority(EXTI1_IRQn, 5, 0);
  HAL_NVIC_EnableIRQ(EXTI1_IRQn);

  HAL_NVIC_SetPriority(EXTI9_5_IRQn, 5, 0);
  HAL_NVIC_EnableIRQ(EXTI9_5_IRQn);

  HAL_NVIC_SetPriority(EXTI15_10_IRQn, 5, 0);
  HAL_NVIC_EnableIRQ(EXTI15_10_IRQn);

}

/* USER CODE BEGIN 4 */

int _write(int file, char *ptr, int len)
{
	int DataIdx;
	for(DataIdx=0; DataIdx<len; DataIdx++)
	{
		ITM_SendChar(*ptr++);
	}
	return len;
}

void HAL_UART_RxCpltCallback(UART_HandleTypeDef *huart)
{
	uint32_t cola_q;
	osStatus_t estado_cola;

	//const char *Test= "H";

if (huart == &huart1)
{

		printf("Se ha recibido el valor %c de la UART\r\n",rec_data);
		if(cont<=3){

			estado_cola = osMessageQueuePut(receive_queueHandle,&rec_data,0,pdMS_TO_TICKS(0));

			  if(cont==3){
			  if(rec_data == 13){ //Comprobar y meter si el \n se envia en el tercer caracter, si no se envia en el tercer caracter entonces mandar el flag de error.
				  cola_q = osThreadFlagsSet (conf_inicialHandle,0x00000001U);
				  cont=0; //Esto quizás haya que cambiarlo
			  } else{ //Se ha producido overflow en la cola, enviar el flag 1.
					cola_q = osThreadFlagsSet(conf_inicialHandle,0x00000002U);
					cont=0;
				}
		}

		}

		cont=cont+1;
		HAL_UART_Receive_IT(&huart1,&rec_data, sizeof(rec_data));
}
}

uint8_t extraerNumero(char *digitos, uint8_t *rango){
int valor ;
if(strlen(digitos) > 1)
valor = ( ((digitos[0]-48) * 10) + (digitos[1] - 48) );
else
valor = digitos[0] - 48;
if (valor<rango[0] || valor>rango[1])
valor = 255; // Si devuelve 255 significa que el numero no es valido
return valor;
}

static int wifi_start(void)
{
  uint8_t  MAC_Addr[6];

 /*Initialize and use WIFI module */
  if(WIFI_Init() ==  WIFI_STATUS_OK)
  {
    printf("ES-WIFI Initialized.\n");
    if(WIFI_GetMAC_Address(MAC_Addr) == WIFI_STATUS_OK)
    {
      printf("> eS-WiFi module MAC Address : %02X:%02X:%02X:%02X:%02X:%02X\n",
               MAC_Addr[0],
               MAC_Addr[1],
               MAC_Addr[2],
               MAC_Addr[3],
               MAC_Addr[4],
               MAC_Addr[5]);
    }
    else
    {
      printf("> ERROR : CANNOT get MAC address\n");
      return -1;
    }
  }
  else
  {
    return -1;
  }
  return 0;
}

int wifi_connect(char* SSID, char* PASSWORD)
{

  wifi_start();

  printf("\nConnecting to %s, %s\n",SSID,PASSWORD);
  if( WIFI_Connect(SSID, PASSWORD, WIFISECURITY) == WIFI_STATUS_OK)
  {
    if(WIFI_GetIP_Address(IP_Addr) == WIFI_STATUS_OK)
    {
      printf("> es-wifi module connected: got IP Address : %d.%d.%d.%d\n",
               IP_Addr[0],
               IP_Addr[1],
               IP_Addr[2],
               IP_Addr[3]);
    }
    else
    {
		  printf(" ERROR : es-wifi module CANNOT get IP address\n");
      return -1;
    }
  }
  else
  {
		 printf("ERROR : es-wifi module NOT connected\n");
     return -1;
  }
  return 0;
}

/**
  * @brief  EXTI line detection callback.
  * @param  GPIO_Pin: Specifies the port pin connected to corresponding EXTI line.
  * @retval None
  */
void HAL_GPIO_EXTI_Callback(uint16_t GPIO_Pin)
{
  switch (GPIO_Pin)
  {
    case (GPIO_PIN_1):
    {
      SPI_WIFI_ISR();
      break;
    }
    case (BOTON_Pin):
    {
      printf("Le has dado al boton \r\n");
      osThreadFlagsSet(hum_TempTaskHandle, 0x0000001U);
      break;
    }
    default:
    {
      break;
    }
  }
}

/**
  * @brief  SPI3 line detection callback.
  * @param  None
  * @retval None
  */
void SPI3_IRQHandler(void)
{
  HAL_SPI_IRQHandler(&hspi);
}

void prvMQTTProcessIncomingPublish( MQTTPublishInfo_t *pxPublishInfo )
{
	char buffer1[128];
	char buffer2[128];
    const char * pTopicName;
    uint8_t i;
    uint8_t limit[6][2] = {{0,23},{0,59},{0,59},{1,31},{1,12},{0,99}};
    uint16_t numero_usuario,frec_muestreo, frec_muestreo_str;
    uint8_t fondo_escala, fondo_escala_str;
    uint8_t to_change[6];
    bool dato_erroneo;
	const char* msg_error = "\r\nERROR: Valor de configuracion no válido\r\n";
	const char* msg_hora_ok = "\r\nHora cambiada correctamente\r\n";
	const char* msg_fecha_ok = "Fecha cambiada correctamente\r\n";

	// pPayload no termina en \0, hay que copiarlo en un buffer para imprimirlo. Lo mismo con pTopicName
	memcpy(buffer1,pxPublishInfo->pPayload,min(127,pxPublishInfo->payloadLength));
	buffer1[min(1023,pxPublishInfo->payloadLength)]='\0';
	memcpy(buffer2,pxPublishInfo->pTopicName,min(127,pxPublishInfo->topicNameLength));
	buffer2[min(1023,pxPublishInfo->topicNameLength)]='\0';

	printf("Topic \"%s\": publicado \"%s\"\n",buffer2,buffer1);

  	for(i=0;i<strlen(rtcConfTopic);i++){
		if(buffer2[i] != rtcConfTopic[i]){
			break;
		}
	}
	if (i == strlen(rtcConfTopic)){
		dato_erroneo = false;
		for (i=0;i<6 && !dato_erroneo;){
			numero_usuario = 10*(buffer1[3*i]-48) + buffer1[3*i+1]-48;
			printf("Dato: %d\r\n",numero_usuario);
			printf("Rango: %d-%d\r\n",limit[i][0],limit[i][1]);
			if (numero_usuario<limit[i][0] || numero_usuario>limit[i][1]){
				dato_erroneo = true;
				osMessageQueuePut(print_queueHandle, &msg_error, 0, pdMS_TO_TICKS(500));

			}else{
				to_change[i]=numero_usuario;
				i++;
			}

		}
		if(i == 6){
			RTC_TimeTypeDef sTime = {0};
			RTC_DateTypeDef sDate = {0};

			sTime.Hours = to_change[0];
			sTime.Minutes = to_change[1];
			sTime.Seconds = to_change[2];

			if (HAL_RTC_SetTime(&hrtc, &sTime, RTC_FORMAT_BIN) != HAL_OK)
			  {
				Error_Handler();
			  }

			osMessageQueuePut(print_queueHandle, &msg_hora_ok, 0, pdMS_TO_TICKS(500));

			sDate.Date = to_change[3];
			sDate.Month = to_change[4];
			sDate.Year = to_change[5];
			printf("Anio: %d\r\n",to_change[5]);
			if (HAL_RTC_SetDate(&hrtc, &sDate, RTC_FORMAT_BIN) != HAL_OK)
			{
				Error_Handler();
			}

			osMessageQueuePut(print_queueHandle, &msg_fecha_ok, 0, pdMS_TO_TICKS(500));
		}
	}

}

/* USER CODE END 4 */

void hum_TempTask_func(void *argument)
{
  /* USER CODE BEGIN 5 */
	osStatus_t estado;
	int tempInt1,tempInt2;
	char string_h[10] = "";
	char *p_string_h = string_h;
	char string_t[10] = "";
	char *p_string_t = string_t;
	char string_timestamp[30] = "";
	char *p_string_timestamp = string_timestamp;
	char mensaje[60] = "";
	char *p_mensaje = mensaje;
	BSP_HSENSOR_Init();
	BSP_TSENSOR_Init();

	osThreadFlagsWait (0x0001U,  osFlagsWaitAny, osWaitForever);
	printf("Temp y humidity task se inicia\r\n");

	/* Infinite loop */
	for(;;)
	{
		osThreadFlagsWait(0x0000001U, osFlagsWaitAny, pdMS_TO_TICKS(10000));

		//LECTURA DE LA HUMEDAD (sin decimales):
		humidity_value = BSP_HSENSOR_ReadHumidity();
		int hmdInt1 = humidity_value;

		//LECTURA DE LA TEMPERATURA (con 1 decimal):
		temperature_value = BSP_TSENSOR_ReadTemp();
		tempInt1 = temperature_value;
		float hmdFrac = temperature_value - tempInt1;
		tempInt2 = trunc(hmdFrac * 10);

		//Crear una tarea para enviar los valores por ella y hacer también un flag_set.
		snprintf(string_h, 10, "%d",hmdInt1);
		snprintf(string_t, 10, "%d.%d",tempInt1,tempInt2);
		HAL_RTC_GetTime(&hrtc,&GetTime, RTC_FORMAT_BIN);
		HAL_RTC_GetDate(&hrtc,&GetDate, RTC_FORMAT_BIN);
		snprintf(string_timestamp, 30, "20%d/%d/%d %d:%d:%d ",GetDate.Year, GetDate.Month,GetDate.Date,GetTime.Hours,GetTime.Minutes,GetTime.Seconds);

		//Se envían los tres mensajes por la cola Send_HyTHandle:
		osMessageQueuePut(Send_HyTHandle, &p_string_h, 0, pdMS_TO_TICKS(0));
		osMessageQueuePut(Send_HyTHandle, &p_string_t, 0, pdMS_TO_TICKS(0));
		osMessageQueuePut(Send_HyTHandle, &p_string_timestamp, 0, pdMS_TO_TICKS(0));
		//Envío el valor entero y decimal de la temperatura:
		osMessageQueuePut(Send_TempHandle, &tempInt1, 0, pdMS_TO_TICKS(0));
		osMessageQueuePut(Send_TempHandle, &tempInt2, 0, pdMS_TO_TICKS(0));

		printf("Lectura humedad y temperatura realizada\r\n");

		snprintf(mensaje,60,"Temp: %d.%01d , humidity: %d %s\r\n",tempInt1,tempInt2,hmdInt1,string_timestamp);

		estado = osMessageQueuePut(print_queueHandle, &p_mensaje, 0, pdMS_TO_TICKS(500));
		if(estado == osOK){
			printf("Enviada a la cola\r\n");
		}
		else if(estado == osErrorTimeout){
			printf("Timeout agotado 1\r\n");
		}

	}
  /* USER CODE END 5 */
}

void printTask_func(void *argument)
{
  /* USER CODE BEGIN printTask_func */
	uintptr_t mensaje;
	osStatus_t estado;
  /* Infinite loop */
  for(;;)
  {
	  estado = osMessageQueueGet(print_queueHandle, &mensaje, NULL, osWaitForever);
	  //printf("Se ha recibido algo en print task\r\n");

	  if (estado == osOK)
	  {
		  HAL_UART_Transmit(&huart1, (uint8_t*)mensaje, strlen(mensaje),10);
	  }
	  else if (estado == osErrorTimeout)
	  {
		  printf("Timeout printTask\r\n");
	  }
	  else
	  {
		  printf("Error en la tarea print\r\n");
	  }

	  //osDelay(30000);

  }
  /* USER CODE END printTask_func */
}

void clientMQTT_func(void *argument)
{
  /* USER CODE BEGIN clientMQTT_func */
	osThreadFlagsWait(0x0001U, osFlagsWaitAny, osWaitForever);

	// Espera a que se haya configurado el RTC y el wifi
	uintptr_t msg_pr_h;
	uintptr_t msg_pr_t;
	uintptr_t msg_pr_timestamp;
	const uint32_t ulMaxPublishCount = 5UL;
	NetworkContext_t xNetworkContext = { 0 };
	MQTTContext_t xMQTTContext;
	MQTTStatus_t xMQTTStatus;
	TransportStatus_t xNetworkStatus;
	char payLoad[23];
	int temp1,temp2;
	char payLoad1[10];  //Este payload puede servir para mandar una notificacion de que se ha superado la temperatura umbral

	const char* msg_mqtt_initialized = "\r\nMQTT INICIALIZADO\r\n\r\n";
	osStatus_t estado;

	/* Attempt to connect to the MQTT broker. The socket is returned in
	* the network context structure. */
	xNetworkStatus = prvConnectToServer( &xNetworkContext );
	configASSERT( xNetworkStatus == PLAINTEXT_TRANSPORT_SUCCESS );
	//LOG(("Trying to create an MQTT connection\n"));
	prvCreateMQTTConnectionWithBroker( &xMQTTContext, &xNetworkContext );
	prvMQTTSubscribeToTopic(&xMQTTContext,rtcConfTopic);

	osMessageQueuePut(print_queueHandle, &msg_mqtt_initialized, 0, pdMS_TO_TICKS(500));
	osThreadFlagsSet(hum_TempTaskHandle,0x0001U);

	printf("Comenzamos envio mqtt\r\n");
  /* Infinite loop */
  for(;;)
  {
	//osThreadFlagsWait(0x00000001U, osFlagsWaitAny, pdMS_TO_TICKS(10000)); //AQUI PONER QUE ES CADA MEDIA HORA.

	estado = osMessageQueueGet(Send_HyTHandle, &msg_pr_h, NULL, pdMS_TO_TICKS(5000)); //Minimo la mitad de tiempo de lo que tarda en actualizar la configuración

	if (estado == osOK)
	{
		//publicamos
		//osMessageQueueGet(Send_HyTHandle, &msg_pr_h, NULL, osWaitForever);
		osMessageQueueGet(Send_HyTHandle, &msg_pr_t, NULL, osWaitForever);
		osMessageQueueGet(Send_HyTHandle, &msg_pr_timestamp, NULL, osWaitForever);
		osMessageQueueGet(Send_TempHandle, &temp1, NULL, pdMS_TO_TICKS(1));
		osMessageQueueGet(Send_TempHandle, &temp2, NULL, pdMS_TO_TICKS(1));

		//Envío la humedad:
		sprintf(payLoad,"H: %s %s",msg_pr_h,msg_pr_timestamp);
		prvMQTTPublishToTopic(&xMQTTContext,humdTopic,payLoad);

		//Envío la temperatura:
		sprintf(payLoad,"T: %s %s",msg_pr_t,msg_pr_timestamp);
		prvMQTTPublishToTopic(&xMQTTContext,tempTopic,payLoad);

		if(temp1>TEMPERATURA_UMBRAL){
			sprintf(payLoad1,"1");
			prvMQTTPublishToTopic(&xMQTTContext,tempSupTopic,payLoad1);
		} else{
			sprintf(payLoad1,"0");
			prvMQTTPublishToTopic(&xMQTTContext,tempSupTopic,payLoad1);
		}

	}else if (estado == osErrorTimeout)
	{
		 printf("Procesamos subscripcion\r\n");
		 MQTT_ProcessLoop(&xMQTTContext);
	}
	else
	{
	 printf("Error en la tarea sendMQTT\r\n");
	}

  }
  /* USER CODE END clientMQTT_func */
}

void conf_inicial_func(void *argument)
{
  /* USER CODE BEGIN conf_inicial_func */
	uint8_t recibido[20];
	//uint32_t flag_rec;
	osStatus_t estado;
	uint32_t return_wait = 0U;

	uint16_t num_usuario;
	uint8_t to_change[6];
	const char* msg_hora_ok = "\r\nHora cambiada correctamente\r\n";
	const char* msg_fecha_ok = "Fecha cambiada correctamente\r\n";
	const char* msg_error = "\r\nERROR: Valor no válido\r\n";
	const char* msg_rtc1 = "\r\n\r\n========================\r\n"
	"| Configurar rtc |\r\n"
	"========================\r\n\r\n";
	const char* msg[6] = {
	"Hora (0-23): ", "\r\nMinuto (0-59): ","\r\nSegundo (0-59): ","\r\nDía (1-31): ","\r\nMes (1-12): ",
	"\r\nAño (0-99): "};
	uint8_t limit[6][2] = {{0,23},{0,59},{0,59},{1,31},{1,12},{0,99}};

	printf("Empieza el bucle\r\n");
	estado = osMessageQueuePut(print_queueHandle, &msg_rtc1, 0, pdMS_TO_TICKS(500));
	int i,j,m = 0;
	for (i=0;i<6;){
		estado = osMessageQueuePut(print_queueHandle, &msg[i], 0, pdMS_TO_TICKS(500));
		printf("Esperando a que ser reciba el dato\r\n");

		for (j=0;j<3;){
			estado = osMessageQueueGet(receive_queueHandle, &recibido[j], NULL, osWaitForever);
			printf("De la cola: %c\r\n",recibido[j]);
			if(recibido[j]==13){
				printf("Ha pulsado intro\r\n");
				break;
			}
			if (recibido[j]==127){
				printf("Ha pulsado borrar\r\n");
				if (j>0) j--;
			}else{
				j++;
			}
		}
		printf("%d\r\n",j);
		switch(j){
		case 0:
			num_usuario=0;
			break;
		case 1:
			num_usuario = recibido[0]-48;
			//i++;
			break;
		case 2:
			num_usuario = 10*(recibido[0]-48)+recibido[1]-48;
			//i++;
			break;
		case 3:
			num_usuario = 100*(recibido[0]-48)+10*(recibido[1]-48)+recibido[2]-48;
			break;
		}
		printf("Numero: %d\r\n",num_usuario);
		printf("Rango: %d-%d\r\n",limit[i][0],limit[i][1]);
		if (num_usuario<limit[i][0] || num_usuario>limit[i][1]){
			estado = osMessageQueuePut(print_queueHandle, &msg_error, 0, pdMS_TO_TICKS(500));
			if (estado == osOK)
				printf("Enviado valor erroneo\r\n");
			else
				printf("Algo no va bien\r\n");
		}else{
			to_change[i]=num_usuario;
			i++;
		}

	}

	RTC_TimeTypeDef sTime = {0};
	RTC_DateTypeDef sDate = {0};

	sTime.Hours = to_change[0];
	sTime.Minutes = to_change[1];
	sTime.Seconds = to_change[2];

	if (HAL_RTC_SetTime(&hrtc, &sTime, RTC_FORMAT_BIN) != HAL_OK)
	  {
		Error_Handler();
	  }

	osMessageQueuePut(print_queueHandle, &msg_hora_ok, 0, pdMS_TO_TICKS(500));

	sDate.Date = to_change[3];
	sDate.Month = to_change[4];
	sDate.Year = to_change[5];
	printf("Anio: %d\r\n",to_change[5]);
	if (HAL_RTC_SetDate(&hrtc, &sDate, RTC_FORMAT_BIN) != HAL_OK)
	{
		Error_Handler();
	}

	osMessageQueuePut(print_queueHandle, &msg_fecha_ok, 0, pdMS_TO_TICKS(500));

	const char* msg_wifi_conf_init = "\r\nInicio de configuración del WiFi\r\n";
	const char* msg_wifi_connect_init = "\r\nConectando al WiFi\r\n";
	const char* msg_wifi_connect_error = "No se ha podido conectar, vuelva a introducir los datos\r\n";
	const char* msg_wifi_connect_success = "\r\nCONECTADO\r\n";
	const char* msg_too_many_characters = "\r\nHas introducido demasiados caracteres, prueba de nuevo\r\n";
	const char* msg_introduce_ssid = "Introduce el ssid: ";
	const char* msg_introduce_psswrd = "\r\nIntroduce la contraseña: ";

	osMessageQueuePut(print_queueHandle, &msg_wifi_conf_init, 0, pdMS_TO_TICKS(500));

	//bucle de conexión
	while (1){

		//configuracion ssid
		osMessageQueuePut(print_queueHandle, &msg_introduce_ssid, 0, pdMS_TO_TICKS(500));
		for (j=0; j<MAX_LEN_SSID ; ){
			estado = osMessageQueueGet(receive_queueHandle, &recibido[j], NULL, osWaitForever);
			printf("De la cola: %c\r\n",recibido[j]);
			if(recibido[j]==13){
				printf("Ha pulsado intro\r\n");
				break;
			}
			if (recibido[j]==127){
				printf("Ha pulsado borrar\r\n");
				if (j>0) j--;
			}else{
				j++;
			}
		}
		if (j==MAX_LEN_SSID){
			osMessageQueuePut(print_queueHandle, &msg_too_many_characters, 0, pdMS_TO_TICKS(500));
		}else{
//			printf("Guardamos el ssid\r\n");
			char ssid[j];
//			printf("j: %d\r\n",j);
			for (m=0 ; m<j ; m++){
//				printf("m: %d\r\n",m);
//				printf("caracter: %c\r\n",recibido[m]);
				ssid[m] = recibido[m];
			}

			//configuracion contraseña
			osMessageQueuePut(print_queueHandle, &msg_introduce_psswrd, 0, pdMS_TO_TICKS(500));

			for (j=0; j<MAX_LEN_PSSWRD ; ){
				estado = osMessageQueueGet(receive_queueHandle, &recibido[j], NULL, osWaitForever);
//				printf("De la cola: %c\r\n",recibido[j]);
				if(recibido[j]==13){
//					printf("Ha pulsado intro\r\n");
					break;
				}
				if (recibido[j]==127){
//					printf("Ha pulsado borrar\r\n");
					if (j>0) j--;
				}else{
					j++;
				}
			}
			if (j==MAX_LEN_PSSWRD){
				osMessageQueuePut(print_queueHandle, &msg_too_many_characters, 0, pdMS_TO_TICKS(500));
			}else{
				osMessageQueuePut(print_queueHandle, &msg_wifi_connect_init, 0, pdMS_TO_TICKS(500));

//				printf("Guardamos el psswrd\r\n");
				char psswrd[j];
//				printf("j: %d\r\n",j);
				for (m=0 ; m<j ; m++){
//					printf("m: %d\r\n",m);
//					printf("caracter: %c\r\n",recibido[m]);
					psswrd[m] = recibido[m];
				}

				if (wifi_connect(ssid,psswrd) != 0){
					osMessageQueuePut(print_queueHandle, &msg_wifi_connect_error, 0, pdMS_TO_TICKS(500));
				}
				else{
					break;
				}

			}
		}

	}

	osMessageQueuePut(print_queueHandle, &msg_wifi_connect_success, 0, pdMS_TO_TICKS(500));

	osThreadFlagsSet(clientMQTTHandle,0x0001U);

  /* Infinite loop */
  for(;;)
  {
	  osDelay(pdMS_TO_TICKS(10));
  }
  /* USER CODE END conf_inicial_func */
}

void HAL_TIM_PeriodElapsedCallback(TIM_HandleTypeDef *htim)
{
  if (htim->Instance == TIM6) {
    HAL_IncTick();
  }
}

void Error_Handler(void)
{
  __disable_irq();
  while (1)
  {
  }
}
